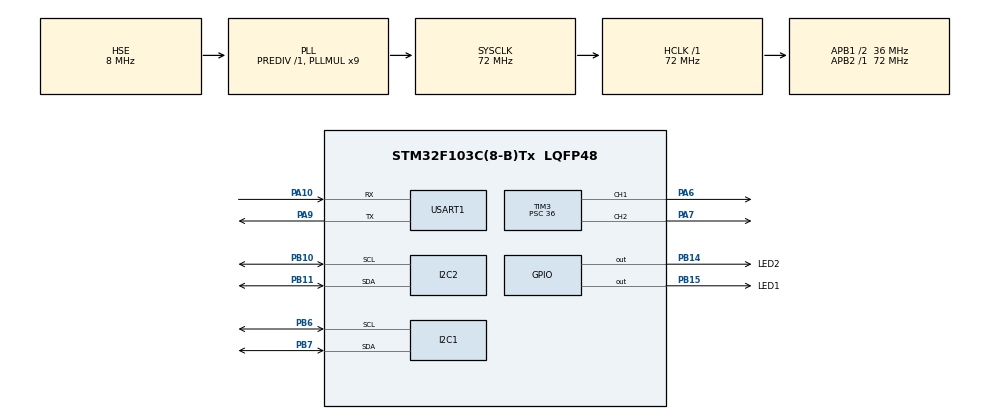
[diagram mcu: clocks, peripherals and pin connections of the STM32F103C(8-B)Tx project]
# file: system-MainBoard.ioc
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Mcu.Family=STM32F1
Mcu.Name=STM32F103C(8-B)Tx
Mcu.Package=LQFP48
NVIC.PriorityGroup=NVIC_PRIORITYGROUP_4
NVIC.TIM2_IRQn=true\:0\:0\:false\:false\:true\:true\:true\:true
PA0-WKUP.Signal=ADCx_IN0
PA10.Mode=Asynchronous
PA10.Signal=USART1_RX
PA13.Mode=Serial_Wire
PA13.Signal=SYS_JTMS-SWDIO
PA14.Mode=Serial_Wire
PA14.Signal=SYS_JTCK-SWCLK
PA6.Signal=S_TIM3_CH1
PA7.Signal=S_TIM3_CH2
PA9.Mode=Asynchronous
PA9.Signal=USART1_TX
PB10.Mode=I2C
PB10.Signal=I2C2_SCL
PB11.Mode=I2C
PB11.Signal=I2C2_SDA
PB14.GPIO_Label=LED2
PB14.GPIO_PuPd=GPIO_PULLUP
PB14.PinState=GPIO_PIN_SET
PB14.Signal=GPIO_Output
PB15.GPIO_Label=LED1
PB15.GPIO_PuPd=GPIO_PULLUP
PB15.PinState=GPIO_PIN_RESET
PB15.Signal=GPIO_Output
PB6.Mode=I2C
PB6.Signal=I2C1_SCL
PB7.Mode=I2C
PB7.Signal=I2C1_SDA
PD0-OSC_IN.Mode=HSE-External-Oscillator
PD0-OSC_IN.Signal=RCC_OSC_IN
PD1-OSC_OUT.Mode=HSE-External-Oscillator
PD1-OSC_OUT.Signal=RCC_OSC_OUT
ProjectManager.HeapSize=0x200
ProjectManager.StackSize=0x400
ProjectManager.TargetToolchain=MDK-ARM V5.32
RCC.AHBFreq_Value=72000000
RCC.APB1CLKDivider=RCC_HCLK_DIV2
RCC.APB1Freq_Value=36000000
RCC.APB1TimFreq_Value=72000000
RCC.APB2Freq_Value=72000000
RCC.APB2TimFreq_Value=72000000
RCC.HCLKFreq_Value=72000000
RCC.PLLMUL=RCC_PLL_MUL9
RCC.PLLSourceVirtual=RCC_PLLSOURCE_HSE
RCC.SYSCLKFreq_VALUE=72000000
RCC.SYSCLKSource=RCC_SYSCLKSOURCE_PLLCLK
RCC.USBFreq_Value=72000000
SH.ADCx_IN0.0=ADC1_IN0
SH.S_TIM3_CH1.0=TIM3_CH1,PWM Generation1 CH1
SH.S_TIM3_CH2.0=TIM3_CH2,PWM Generation2 CH2
TIM2.AutoReloadPreload=TIM_AUTORELOAD_PRELOAD_ENABLE
TIM2.Period=4999
TIM2.Prescaler=71
TIM3.AutoReloadPreload=TIM_AUTORELOAD_PRELOAD_ENABLE
TIM3.Channel-PWM\ Generation1\ CH1=TIM_CHANNEL_1
TIM3.Channel-PWM\ Generation2\ CH2=TIM_CHANNEL_2
TIM3.Period=499
TIM3.Prescaler=36
USART1.VirtualMode=VM_ASYNC
VP_TIM2_VS_ClockSourceINT.Mode=Internal
board=custom

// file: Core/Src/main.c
/* USER CODE BEGIN Header */
/**
  ******************************************************************************
  * @file           : main.c
  * @brief          : Main program body
  ******************************************************************************
  * @attention
  *
  * Copyright (c) 2025 STMicroelectronics.
  * All rights reserved.
  *
  * This software is licensed under terms that can be found in the LICENSE file
  * in the root directory of this software component.
  * If no LICENSE file comes with this software, it is provided AS-IS.
  *
  ******************************************************************************
  */
/* USER CODE END Header */
#include "main.h"
#include "i2c.h"
#include "tim.h"
#include "usart.h"
#include "gpio.h"

/* USER CODE BEGIN Includes */
#include "stm32f1xx_hal.h"
#include "mpu6050.h"
#include "filter.h"

/* USER CODE END Includes */

/* USER CODE BEGIN PV */
uint16_t pwmVal=50;
float roll,yaw,pitch;
	int ret = 0;
/* USER CODE END PV */

void SystemClock_Config(void);

int main(void)
{

  /* MCU Configuration--------------------------------------------------------*/

  /* Reset of all peripherals, Initializes the Flash interface and the Systick. */
  HAL_Init();

  /* Configure the system clock */
  SystemClock_Config();

  /* Initialize all configured peripherals */
  MX_GPIO_Init();
  MX_USART1_UART_Init();
  MX_TIM3_Init();
  MX_I2C1_Init();
  MX_I2C2_Init();
  MX_TIM2_Init();
  /* USER CODE BEGIN 2 */
	HAL_TIM_PWM_Start(&htim3,TIM_CHANNEL_1);
	HAL_TIM_PWM_Start(&htim3,TIM_CHANNEL_2);

	//HAL_TIM_Base_Start_IT(&htim2);

	do{
		ret = MPU6050_DMP_init();
	}while(ret);
	HAL_Delay(500);
  /* USER CODE END 2 */

  /* Infinite loop */
  while (1)
  {

    /* USER CODE BEGIN 3 */

		HAL_Delay(20);
		pwmVal=(uint16_t)roll+50;
		if(pwmVal>300)
		{
			pwmVal=50;
		}
		htim3.Instance->CCR1 = pwmVal;
		htim3.Instance->CCR2 = pwmVal;

		HAL_GPIO_TogglePin(GPIOB,GPIO_PIN_14);
		HAL_GPIO_TogglePin(GPIOB,GPIO_PIN_15);

		MPU6050_DMP_Get_Date(&pitch,&roll,&yaw);
  }
  /* USER CODE END 3 */
}

void SystemClock_Config(void)
{
  RCC_OscInitTypeDef RCC_OscInitStruct = {0};
  RCC_ClkInitTypeDef RCC_ClkInitStruct = {0};

  /** Initializes the RCC Oscillators according to the specified parameters
  * in the RCC_OscInitTypeDef structure.
  */
  RCC_OscInitStruct.OscillatorType = RCC_OSCILLATORTYPE_HSE;
  RCC_OscInitStruct.HSEState = RCC_HSE_ON;
  RCC_OscInitStruct.HSEPredivValue = RCC_HSE_PREDIV_DIV1;
  RCC_OscInitStruct.HSIState = RCC_HSI_ON;
  RCC_OscInitStruct.PLL.PLLState = RCC_PLL_ON;
  RCC_OscInitStruct.PLL.PLLSource = RCC_PLLSOURCE_HSE;
  RCC_OscInitStruct.PLL.PLLMUL = RCC_PLL_MUL9;
  if (HAL_RCC_OscConfig(&RCC_OscInitStruct) != HAL_OK)
  {
    Error_Handler();
  }

  /** Initializes the CPU, AHB and APB buses clocks
  */
  RCC_ClkInitStruct.ClockType = RCC_CLOCKTYPE_HCLK|RCC_CLOCKTYPE_SYSCLK
                              |RCC_CLOCKTYPE_PCLK1|RCC_CLOCKTYPE_PCLK2;
  RCC_ClkInitStruct.SYSCLKSource = RCC_SYSCLKSOURCE_PLLCLK;
  RCC_ClkInitStruct.AHBCLKDivider = RCC_SYSCLK_DIV1;
  RCC_ClkInitStruct.APB1CLKDivider = RCC_HCLK_DIV2;
  RCC_ClkInitStruct.APB2CLKDivider = RCC_HCLK_DIV1;

  if (HAL_RCC_ClockConfig(&RCC_ClkInitStruct, FLASH_LATENCY_2) != HAL_OK)
  {
    Error_Handler();
  }
}

/* USER CODE BEGIN 4 */
void data_process(void)
{

}
/* USER CODE END 4 */

void Error_Handler(void)
{
  __disable_irq();
  while (1)
  {
  }
}
